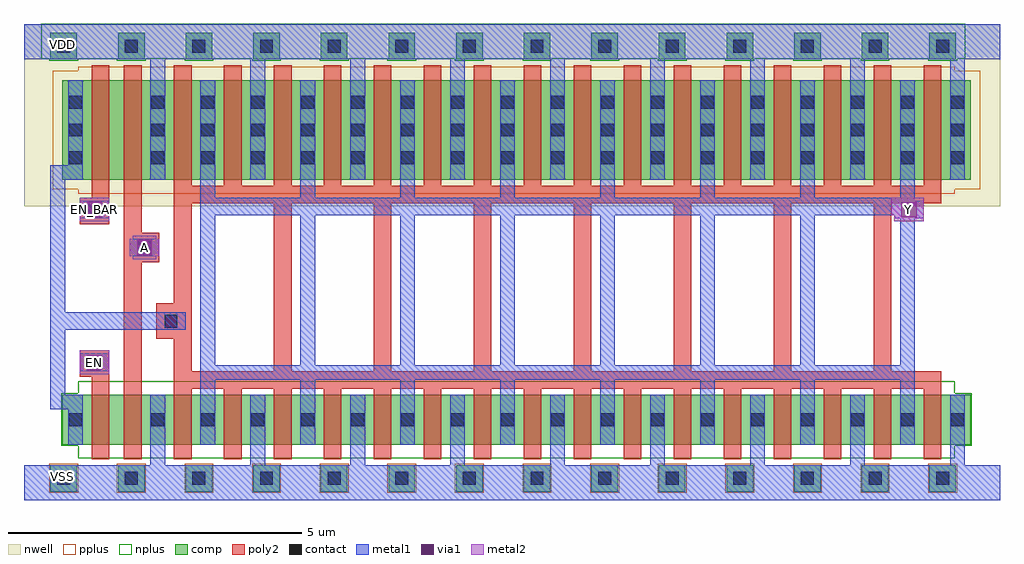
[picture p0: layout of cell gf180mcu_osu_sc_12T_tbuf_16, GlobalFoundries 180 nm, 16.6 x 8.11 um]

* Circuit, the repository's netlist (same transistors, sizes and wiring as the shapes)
* Copyright 2022 Google LLC
*
* Licensed under the Apache License, Version 2.0 (the "License");
* you may not use this file except in compliance with the License.
* You may obtain a copy of the License at
*
*      http://www.apache.org/licenses/LICENSE-2.0
*
* Unless required by applicable law or agreed to in writing, software
* distributed under the License is distributed on an "AS IS" BASIS,
* WITHOUT WARRANTIES OR CONDITIONS OF ANY KIND, either express or implied.
* See the License for the specific language governing permissions and
* limitations under the License.

.option scale=0.05u

.subckt gf180mcu_osu_sc_12T_tbuf_16 A Y EN EN_BAR
X0 VSS a_13_19 Y VSS nmos_3p3 w=17 l=6
X1 Y a_13_19 VSS VSS nmos_3p3 w=17 l=6
X2 Y a_13_19 VSS VSS nmos_3p3 w=17 l=6
X3 VSS a_13_19 Y VSS nmos_3p3 w=17 l=6
X4 VSS a_13_19 Y VSS nmos_3p3 w=17 l=6
X5 VSS a_13_19 Y VSS nmos_3p3 w=17 l=6
X6 VSS a_13_19 Y VSS nmos_3p3 w=17 l=6
X7 Y a_13_19 VSS VSS nmos_3p3 w=17 l=6
X8 Y a_13_19 VSS VSS nmos_3p3 w=17 l=6
X9 VDD a_13_19 Y VDD pmos_3p3 w=34 l=6
X10 Y a_13_19 VDD VDD pmos_3p3 w=34 l=6
X11 Y a_13_19 VDD VDD pmos_3p3 w=34 l=6
X12 Y a_13_19 VDD VDD pmos_3p3 w=34 l=6
X13 VDD a_13_19 Y VDD pmos_3p3 w=34 l=6
X14 VDD a_13_19 Y VDD pmos_3p3 w=34 l=6
X15 Y a_13_19 VDD VDD pmos_3p3 w=34 l=6
X16 VDD a_13_19 Y VDD pmos_3p3 w=34 l=6
X17 Y a_13_19 VDD VDD pmos_3p3 w=34 l=6
X18 VSS a_13_19 Y VSS nmos_3p3 w=17 l=6
X19 Y a_13_19 VDD VDD pmos_3p3 w=34 l=6
X20 VDD a_13_19 Y VDD pmos_3p3 w=34 l=6
X21 VDD a_13_19 Y VDD pmos_3p3 w=34 l=6
X22 VDD a_13_19 Y VDD pmos_3p3 w=34 l=6
X23 Y a_13_19 VDD VDD pmos_3p3 w=34 l=6
X24 a_29_19 EN a_13_19 VSS nmos_3p3 w=17 l=6
X25 Y a_13_19 VSS VSS nmos_3p3 w=17 l=6
X26 Y a_13_19 VSS VSS nmos_3p3 w=17 l=6
X27 Y a_13_19 VDD VDD pmos_3p3 w=34 l=6
X28 VDD a_13_19 Y VDD pmos_3p3 w=34 l=6
X29 VDD A a_29_109 VDD pmos_3p3 w=34 l=6
X30 Y a_13_19 VSS VSS nmos_3p3 w=17 l=6
X31 Y a_13_19 VSS VSS nmos_3p3 w=17 l=6
X32 VSS A a_29_19 VSS nmos_3p3 w=17 l=6
X33 VSS a_13_19 Y VSS nmos_3p3 w=17 l=6
X34 VSS a_13_19 Y VSS nmos_3p3 w=17 l=6
X35 a_29_109 EN_BAR a_13_19 VDD pmos_3p3 w=34 l=6
.ends

** hspice subcircuit dictionary

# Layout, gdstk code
import gdstk
lib = gdstk.Library(unit=1e-6, precision=1e-09)
def R(c, l, rs):  # rectangles x0, y0, x1, y1
    for r in rs: c.add(gdstk.rectangle(r[:2], r[2:], *l))
def A(c, l, x, y, w, h, nx, ny, dx, dy):  # array of equal rectangles
    R(c, l, [(x+i*dx, y+j*dy, x+i*dx+w, y+j*dy+h) for i in range(nx) for j in range(ny)])
nwell = (21, 0)
comp = (22, 0)
poly2 = (30, 0)
pplus = (31, 0)
nplus = (32, 0)
contact = (33, 0)
metal1 = (34, 0)
via1 = (35, 0)
metal2 = (36, 0)

gf180mcu_osu_sc_12t_tbuf = lib.new_cell('gf180mcu_osu_sc_12T_tbuf_16')
R(gf180mcu_osu_sc_12t_tbuf, nwell, [(0,5,16.6,8.1)])
A(gf180mcu_osu_sc_12t_tbuf, comp, 0.45, 0.15, 0.45, 0.45, 14, 2, 1.15, 7.35)
R(gf180mcu_osu_sc_12t_tbuf, comp, [(0.65,0.95,16.1,1.8), (0.65,5.45,16.1,7.15)])
A(gf180mcu_osu_sc_12t_tbuf, poly2, 2.55, 0.7, 0.3, 1.2, 16, 1, 0.85, 0)
A(gf180mcu_osu_sc_12t_tbuf, poly2, 4.25, 2.2, 0.3, 2.85, 7, 1, 1.7, 0)
A(gf180mcu_osu_sc_12t_tbuf, poly2, 2.55, 5.35, 0.3, 2.05, 16, 1, 0.85, 0)
R(gf180mcu_osu_sc_12t_tbuf, poly2, [(1.15,0.7,1.45,2.1), (1.7,0.7,2,4.05), (2.55,1.9,15.6,2.2), (0.95,2.1,1.45,2.55), (2.55,2.2,2.85,2.75), (2.25,2.75,2.85,3.35), (2.55,3.35,2.85,5.05), (1.7,4.05,2.3,4.55), (1.7,4.55,2,7.4), (0.95,4.7,1.45,5.15), (15.05,5,15.3,5.05), (2.55,5.05,15.6,5.35), (1.15,5.15,1.45,7.4)])
A(gf180mcu_osu_sc_12t_tbuf, pplus, 0.43, 0.13, 0.49, 0.49, 14, 1, 1.15, 0)
R(gf180mcu_osu_sc_12t_tbuf, pplus, [(0.92,5.22,15.83,5.29), (0.49,5.29,16.26,7.31), (0.92,7.31,15.83,7.38)])
A(gf180mcu_osu_sc_12t_tbuf, nplus, 0.43, 7.48, 0.49, 0.03, 14, 1, 1.15, 0)
R(gf180mcu_osu_sc_12t_tbuf, nplus, [(0.92,0.72,15.83,0.93), (0.63,0.93,16.12,1.82), (0.92,1.82,15.83,2.03), (0.29,7.51,16.01,8.11)])
A(gf180mcu_osu_sc_12t_tbuf, contact, 0.565, 0.265, 0.22, 0.22, 14, 2, 1.15, 7.35)
A(gf180mcu_osu_sc_12t_tbuf, contact, 2.165, 1.265, 0.22, 0.22, 17, 2, 0.85, 4.455)
A(gf180mcu_osu_sc_12t_tbuf, contact, 0.765, 5.72, 0.22, 0.22, 1, 3, 0, 0.47)
A(gf180mcu_osu_sc_12t_tbuf, contact, 2.165, 6.19, 0.22, 0.22, 17, 2, 0.85, 0.47)
R(gf180mcu_osu_sc_12t_tbuf, contact, [(0.765,1.265,0.985,1.485), (1.065,2.215,1.285,2.435), (2.39,2.94,2.61,3.16), (1.94,4.19,2.16,4.41), (1.065,4.815,1.285,5.035)])
A(gf180mcu_osu_sc_12t_tbuf, metal1, 2.15, 0.6, 0.25, 1.2, 9, 1, 1.7, 0)
A(gf180mcu_osu_sc_12t_tbuf, metal1, 3, 0.95, 0.25, 1.1, 8, 1, 1.7, 0)
A(gf180mcu_osu_sc_12t_tbuf, metal1, 3, 2.3, 0.25, 2.55, 7, 1, 1.7, 0)
A(gf180mcu_osu_sc_12t_tbuf, metal1, 3, 5.15, 0.25, 2, 8, 1, 1.7, 0)
A(gf180mcu_osu_sc_12t_tbuf, metal1, 2.15, 5.45, 0.25, 2.05, 9, 1, 1.7, 0)
R(gf180mcu_osu_sc_12t_tbuf, metal1, [(0,0,16.6,0.6), (0.75,0.95,1,1.55), (0.45,1.55,1,1.8), (0.45,1.8,0.7,2.9), (3,2.05,15.15,2.3), (0.95,2.2,1.45,2.5), (14.9,2.3,15.15,4.8), (0.45,2.9,2.75,3.2), (0.45,3.2,0.7,5.45), (1.8,4.15,2.3,4.45), (0.95,4.8,1.45,5.1), (14.8,4.8,15.3,4.85), (3,4.85,15.3,5.1), (3,5.1,15.15,5.15), (0.45,5.45,1,5.7), (0.75,5.7,1,7.15), (0,7.5,16.6,8.1)])
R(gf180mcu_osu_sc_12t_tbuf, via1, [(1.07,2.22,1.33,2.48), (1.92,4.17,2.18,4.43), (1.07,4.82,1.33,5.08), (14.92,4.82,15.18,5.08)])
R(gf180mcu_osu_sc_12t_tbuf, metal2, [(0.95,2.15,1.45,2.55), (1.85,4.1,2.25,4.15), (1.8,4.15,2.3,4.45), (1.85,4.45,2.25,4.5), (0.95,4.75,1.45,5.15), (14.8,4.75,15.3,4.85), (14.75,4.85,15.3,5.15)])
gf180mcu_osu_sc_12t_tbuf.add(gdstk.Label('VDD', (0.65,7.75), layer=34, texttype=0))
gf180mcu_osu_sc_12t_tbuf.add(gdstk.Label('VSS', (0.65,0.4), layer=34, texttype=0))
gf180mcu_osu_sc_12t_tbuf.add(gdstk.Label('A', (2.05,4.3), layer=36, texttype=10))
gf180mcu_osu_sc_12t_tbuf.add(gdstk.Label('Y', (15.05,4.95), layer=36, texttype=10))
gf180mcu_osu_sc_12t_tbuf.add(gdstk.Label('EN', (1.2,2.35), layer=36, texttype=10))
gf180mcu_osu_sc_12t_tbuf.add(gdstk.Label('EN_BAR', (1.2,4.95), layer=36, texttype=10))

lib.write_gds('gf180mcu_osu_sc_12T_tbuf_16.gds')
